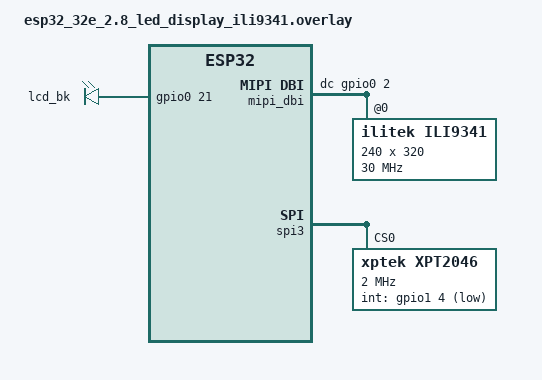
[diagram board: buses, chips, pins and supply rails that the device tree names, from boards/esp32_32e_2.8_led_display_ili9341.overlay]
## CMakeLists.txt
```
# SPDX-License-Identifier: MPL-2.0

cmake_minimum_required(VERSION 3.20.0)

# Project-local drivers ship their own devicetree bindings.
list(APPEND DTS_ROOT ${CMAKE_CURRENT_SOURCE_DIR}/drivers)

find_package(Zephyr REQUIRED HINTS $ENV{ZEPHYR_BASE})
project(oskey)

zephyr_include_directories(drivers/include)

add_subdirectory(drivers)

if(CONFIG_OSKEY_FIDO2 AND CONFIG_NATIVE_LIBC)
  zephyr_compile_definitions(_POSIX_C_SOURCE=200809L)
endif()

include(cmake/lvgl.cmake)
include(cmake/audio.cmake)

target_sources(app PRIVATE
  src/main.c
  src/bluetooth/bluetooth.c
  src/storage.c
  src/net/mqtt.c
  src/gpio.c
  src/usb/webusb.c
  src/app.c
  src/display/display.c
)

target_sources_ifdef(CONFIG_OSKEY_MESSAGE_BUS app PRIVATE
  src/bus.c
)

target_sources_ifdef(CONFIG_OSKEY_RUST app PRIVATE
  src/uart.c
)

target_sources_ifdef(CONFIG_OSKEY_MCUBOOT app PRIVATE
  src/boot.c
)

target_sources_ifdef(CONFIG_OSKEY_RUST app PRIVATE
  src/core.c
)

target_sources_ifdef(CONFIG_OSKEY_TEST_FIRMWARE app PRIVATE
  src/test.c
)

target_sources_ifdef(CONFIG_OSKEY_REMOVABLE_MEDIA app PRIVATE
  src/media.c
  src/display/ui_files.c
)

target_sources_ifdef(CONFIG_OSKEY_CAMERA app PRIVATE
  src/camera/camera.c
)

if(CONFIG_OSKEY_QR_CODE)
  add_library(quirc STATIC
    lib/quirc/lib/decode.c
    lib/quirc/lib/identify.c
    lib/quirc/lib/quirc.c
    lib/quirc/lib/version_db.c
  )
  target_include_directories(quirc PUBLIC lib/quirc/lib)
  target_compile_definitions(quirc PRIVATE QUIRC_FLOAT_TYPE=float QUIRC_USE_TGMATH=1)
  target_link_libraries(quirc PUBLIC zephyr_interface)

  target_sources(app PRIVATE src/camera/qr_decoder.c)
  target_link_libraries(app PRIVATE quirc)
endif()

target_sources_ifdef(CONFIG_OSKEY_QR_SCANNER app PRIVATE
  src/camera/qr_scanner.c
  src/display/ui_qr.c
)

if(CONFIG_OSKEY_AUDIO)
  target_sources(app PRIVATE
    src/audio/audio.c
  )
  add_dependencies(app audio-assets)
endif()

target_sources_ifdef(CONFIG_OSKEY_MICROPHONE app PRIVATE
  src/audio/microphone.c
)

if(CONFIG_OSKEY_IMU)
  add_library(fusion STATIC
    lib/Fusion/Fusion/FusionAhrs.c
    lib/Fusion/Fusion/FusionBias.c
  )
  target_include_directories(fusion PUBLIC lib/Fusion/Fusion)
  target_link_libraries(fusion PUBLIC zephyr_interface)

  target_sources(app PRIVATE src/imu/imu.c)
  target_link_libraries(app PRIVATE fusion)
endif()

target_sources_ifdef(CONFIG_OSKEY_DISPLAY app PRIVATE
  src/display/ui.c
  src/display/ui_keyboard.c
  src/display/ui_controller.c
  src/display/ui_status.c
  src/display/ui_dialog.c
  src/display/ui_pages.c
  src/display/ui_hw.c
  src/display/ui_entropy.c
  src/display/ui_confirmation.c
  src/display/assets/assets.c
)

if(CONFIG_OSKEY_DISPLAY AND CONFIG_OSKEY_RUST)
  target_sources(app PRIVATE
    src/entropy/entropy.c
  )
endif()

target_sources_ifdef(CONFIG_OSKEY_WIFI app PRIVATE
  src/net/wifi.c
  src/net/http.c
  src/net/wifi_portal.c
)

include(cmake/wifi.cmake)

target_sources_ifdef(CONFIG_OSKEY_USB app PRIVATE
  src/usb/bulk.c
  src/usb/init.c
)

target_sources_ifdef(CONFIG_OSKEY_FIDO2 app PRIVATE
  src/usb/fido2.c
)

target_include_directories(app PRIVATE ${CMAKE_CURRENT_SOURCE_DIR}/src)

include(cmake/rust.cmake)
include(cmake/nxp.cmake)
```

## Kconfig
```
# SPDX-License-Identifier: MPL-2.0

menu "OSKey core"

config OSKEY_NXP_SE
	bool "NXP A5000 seed storage"
	depends on OSKEY_RUST
	select I2C
	select PSA_WANT_KEY_TYPE_AES
	select PSA_WANT_ALG_CMAC
	select PSA_WANT_ALG_CBC_NO_PADDING
	help
	  Store the wallet seed in A5000 and enforce ten PIN attempts in the chip.
	  Disabled by default; the existing software wallet backend is then used.

config OSKEY_NXP_CREDENTIALS_HEADER
	string "Private A5000 credential header"
	depends on OSKEY_NXP_SE
	default ""
	help
	  Absolute path to a board provisioning header defining OSKEY_NXP_CREDENTIALS.
	  An empty path leaves the secure backend unconfigured and unable to store seed.

config MAIN_STACK_SIZE
	default 20480

config OSKEY_MESSAGE_BUS
	bool
	select ZBUS

config HEAP_MEM_POOL_ADD_SIZE_OSKEY
	int
	default 8192 if OSKEY_RUST
	default 0

config OSKEY_TEST_FIRMWARE
	bool "Test firmware"
	depends on OSKEY_RUST
	help
	  Build firmware that automatically approves confirmation requests.
	  This bypasses physical user presence and must never be enabled in
	  production firmware.

config OSKEY_BUS_PAYLOAD_COUNT
	int
	depends on OSKEY_RUST
	default 8
	range 1 64

config OSKEY_BUS_PAYLOAD_SIZE
	int
	depends on OSKEY_RUST
	default 512
	range 1 65535

config OSKEY_RUST
	bool "OSKey Rust application"
	default y
	depends on RUST_SUPPORTED
	select OSKEY_MESSAGE_BUS
	select NET_BUF
	select RUST
	select RUST_ALLOC
	select PSA_CRYPTO
	select CSPRNG_NEEDED
	select PSA_WANT_ALG_PBKDF2_HMAC
	select PSA_WANT_ALG_SHA_512
	select PSA_WANT_ALG_SHA_256
	select PSA_WANT_ALG_RIPEMD160
	select PSA_WANT_ALG_HMAC
	select PSA_WANT_KEY_TYPE_HMAC
	select PSA_WANT_ALG_DETERMINISTIC_ECDSA
	select PSA_WANT_ALG_ECDSA
	select PSA_WANT_ECC_SECP_K1_256
	select PSA_WANT_ECC_SECP_R1_256
	select PSA_WANT_KEY_TYPE_ECC_PUBLIC_KEY
	select PSA_WANT_KEY_TYPE_ECC_KEY_PAIR_DERIVE
	select PSA_WANT_KEY_TYPE_ECC_KEY_PAIR_IMPORT
	select PSA_WANT_KEY_TYPE_ECC_KEY_PAIR_EXPORT
	select PSA_WANT_KEY_TYPE_CHACHA20
	select PSA_WANT_ALG_CHACHA20_POLY1305
	help
	  Build the OSKey Rust application and its PSA wallet backend.
	  Disable this to build the C application without Rust wallet support.

config OSKEY_CORE_STACK_SIZE
	int "OSKey core stack size"
	depends on OSKEY_RUST
	default 20480
	help
	  Stack size for the thread that owns and executes the Rust core.

endmenu

menu "OSKey features"

config OSKEY_STORAGE
	bool "Storage"
	select OSKEY_MESSAGE_BUS
	select ZMS
	select ZMS_DATA_CRC
	select SETTINGS
	select FLASH
	select FLASH_MAP
	select FLASH_PAGE_LAYOUT
	help
	  Enable the shared CRC-protected ZMS storage and Zephyr settings
	  backend.

config OSKEY_REMOVABLE_MEDIA
	bool "Read-only removable media browser"
	depends on OSKEY_DISPLAY
	depends on DT_HAS_ZEPHYR_SDMMC_DISK_ENABLED
	select DISK_DRIVER_SDMMC
	select FAT_FILESYSTEM_ELM
	select FILE_SYSTEM
	select FS_FATFS_EXFAT
	select FS_FATFS_READ_ONLY
	help
	  Mount a FAT16, FAT32, or exFAT SD card read-only and expose its
	  files through the LVGL file browser. This storage is independent
	  of OSKey's internal ZMS settings storage.

config FS_FATFS_MOUNT_MKFS
	default n if OSKEY_REMOVABLE_MEDIA

config MPU_ALLOW_FLASH_WRITE
	default y if OSKEY_STORAGE || OSKEY_XIP

config OSKEY_CAMERA
	bool "Camera capture"
	select OSKEY_MESSAGE_BUS
	select VIDEO
	help
	  Enable the generic camera capture service. A board must provide a
	  zephyr,camera chosen video device.

config VIDEO_BUFFER_USE_SHARED_MULTI_HEAP
	default y if OSKEY_CAMERA

config VIDEO_BUFFER_SMH_ATTRIBUTE
	default 2 if OSKEY_CAMERA

config VIDEO_BUFFER_POOL_NUM_MAX
	default 4 if OSKEY_CAMERA

if SOC_SERIES_ESP32S3
config DMA_ESP32_MAX_DESCRIPTOR_NUM
	default 64 if OSKEY_CAMERA
endif

config OSKEY_AUDIO
	bool "Audio"
	depends on DT_HAS_ESPRESSIF_ESP32_I2S_ENABLED
	select OSKEY_MESSAGE_BUS
	select I2S
	select LV_USE_BAR if OSKEY_DISPLAY
	select LV_USE_SLIDER if OSKEY_DISPLAY
	help
	  Enable the board audio service and speaker output through I2S. A board
	  must provide a codec devicetree node and audio-codec / audio-i2s
	  aliases. USB microphone capture can be enabled separately.

config OSKEY_AUDIO_VOLUME
	int "Audio output volume (0-100)"
	depends on OSKEY_AUDIO
	default 60
	range 0 100
	help
	  Initial codec output volume in the 0-100 range; adjustable at runtime
	  from the Audio page.

rsource "src/audio/Kconfig"

config OSKEY_IMU
	bool "6-axis IMU (accelerometer and gyroscope)"
	depends on DT_HAS_OSKEY_QMI8658A_FIFO_ENABLED
	select OSKEY_MESSAGE_BUS
	select OSKEY_QMI8658A_FIFO
	help
	  Enable the portable IMU acquisition and Fusion pipeline. A dedicated
	  thread directly drains the devicetree-selected FIFO source; the wakeup
	  can come from a software timer or a future DRDY GPIO interrupt.

config OSKEY_IMU_RENDER_INTERVAL_MS
	int "IMU page render interval in milliseconds"
	depends on OSKEY_IMU
	default 100
	range 20 1000
	help
	  Period between LVGL updates. Sensor sampling and fusion run at the
	  output data rate configured in devicetree.

config OSKEY_IMU_THREAD_STACK_SIZE
	int "IMU thread stack size"
	depends on OSKEY_IMU
	default 4096
	help
	  Stack used by the direct FIFO acquisition and Fusion thread.

config OSKEY_IMU_THREAD_PRIORITY
	int "IMU thread priority"
	depends on OSKEY_IMU
	default 3
	help
	  Portable Zephyr preemptive priority for acquisition and Fusion.

source "$(APPLICATION_SOURCE_DIR)/drivers/Kconfig"

config OSKEY_QR_CODE
	bool "QR code decoder"
	depends on OSKEY_CAMERA
	help
	  Decode camera frames locally with quirc.

config OSKEY_QR_SCANNER
	bool "QR code scanner"
	depends on OSKEY_CAMERA && OSKEY_DISPLAY
	select OSKEY_QR_CODE
	help
	  Add QR decoding to the camera page.

config OSKEY_QR_DECODE_INTERVAL_MS
	int "QR code decode interval in milliseconds"
	depends on OSKEY_QR_CODE
	default 1000
	range 100 60000

config OSKEY_QR_MAX_PAYLOAD_SIZE
	int "Maximum accepted QR code payload size"
	depends on OSKEY_QR_CODE
	default 2048
	range 1 8896

config OSKEY_QR_THREAD_STACK_SIZE
	int "QR code decoder thread stack size"
	depends on OSKEY_QR_CODE
	default 65536

config OSKEY_QR_SCANNER_THREAD_STACK_SIZE
	int "QR scanner thread stack size"
	depends on OSKEY_QR_SCANNER
	default 4096

menuconfig OSKEY_DISPLAY
	bool "Display and input"
	select I2C
	select DISPLAY
	select INPUT
	select LVGL
	select LV_Z_AUTO_INIT
	select LV_Z_RUN_LVGL_ON_WORKQUEUE
	select LV_Z_LVGL_MUTEX
	select LV_Z_MEMORY_POOL_CUSTOM_SECTION if OSKEY_ESP_SPIRAM
	select LV_Z_VDB_CUSTOM_SECTION if OSKEY_ESP_SPIRAM
	select SMF if OSKEY_RUST
	select SMF_ANCESTOR_SUPPORT if OSKEY_RUST
	select LV_USE_FONT_COMPRESSED
	select LV_FONT_MONTSERRAT_20
	select LV_FONT_MONTSERRAT_18
	select LV_FONT_MONTSERRAT_16
	select LV_FONT_MONTSERRAT_14
	select LV_FONT_MONTSERRAT_12

if OSKEY_DISPLAY

config LV_Z_LVGL_WORKQUEUE_STACK_SIZE
	default 32768 if OSKEY_LVGL_BENCHMARK
	default 8192

config OSKEY_DISPLAY_EVENT_STACK_SIZE
	int "Display event thread stack size"
	depends on OSKEY_MESSAGE_BUS
	default 4096
	help
	  Stack used by the event-driven display state consumer.

config LV_Z_MEM_POOL_SIZE
	default 204800 if BOARD_NATIVE_SIM
	default 81920 if OSKEY_LVGL_BENCHMARK
	default 65536

config LV_Z_VDB_SIZE
	default 25 if OSKEY_ESP_SPIRAM

config LV_Z_DOUBLE_VDB
	default y if OSKEY_ESP_SPIRAM

config LV_Z_FLUSH_THREAD
	default y if OSKEY_ESP_SPIRAM

config LV_USE_ANIMIMG
	default n if !OSKEY_LVGL_BENCHMARK

config LV_USE_ARCLABEL
	default n if !OSKEY_LVGL_BENCHMARK

config LV_USE_BAR
	default n if !OSKEY_LVGL_BENCHMARK

config LV_USE_CALENDAR
	default n if !OSKEY_LVGL_BENCHMARK

config LV_USE_CANVAS
	default n if !OSKEY_LVGL_BENCHMARK

config LV_USE_CHART
	default n if !OSKEY_LVGL_BENCHMARK

config LV_USE_CHECKBOX
	default n if !OSKEY_LVGL_BENCHMARK

config LV_USE_DROPDOWN
	default n if !OSKEY_LVGL_BENCHMARK

config LV_USE_IMAGEBUTTON
	default n if !OSKEY_LVGL_BENCHMARK

config LV_USE_LED
	default n if !OSKEY_LVGL_BENCHMARK

config LV_USE_LINE
	default n if !OSKEY_LVGL_BENCHMARK

config LV_USE_LIST
	default n if !OSKEY_LVGL_BENCHMARK

config LV_USE_MENU
	default n if !OSKEY_LVGL_BENCHMARK

config LV_USE_ROLLER
	default n if !OSKEY_LVGL_BENCHMARK

config LV_USE_SCALE
	default n if !OSKEY_LVGL_BENCHMARK

config LV_USE_SLIDER
	default n if !OSKEY_LVGL_BENCHMARK

config LV_USE_SPAN
	default n if !OSKEY_LVGL_BENCHMARK

config LV_USE_SPINBOX
	default n if !OSKEY_LVGL_BENCHMARK

config LV_USE_SWITCH
	default n if !OSKEY_LVGL_BENCHMARK

config LV_USE_TABVIEW
	default n if !OSKEY_LVGL_BENCHMARK

config LV_USE_TILEVIEW
	default n if !OSKEY_LVGL_BENCHMARK

config LV_USE_WIN
	default n if !OSKEY_LVGL_BENCHMARK

choice LV_COLOR_DEPTH
	default LV_COLOR_DEPTH_16
endchoice

config OSKEY_LVGL_BENCHMARK
	bool "LVGL benchmark"
	select LV_USE_DEMO_BENCHMARK
	select LV_USE_SYSMON
	select LV_USE_PERF_MONITOR
	help
	  Run the LVGL benchmark instead of the OSKey interface.

endif

config OSKEY_BLUETOOTH
	bool "Bluetooth"
	select OSKEY_MESSAGE_BUS
	select OSKEY_STORAGE
	select BT
	select BT_PERIPHERAL
	select BT_SMP
	select BT_SMP_SC_ONLY
	select BT_APP_PASSKEY
	select BT_ZEPHYR_NUS
	select BT_KEYS_OVERWRITE_OLDEST
	select BT_PRIVACY
	select BT_SETTINGS

if OSKEY_BLUETOOTH

config BT_DEVICE_NAME
	default "OSKey"

config BT_L2CAP_TX_MTU
	default 512

config BT_BUF_ACL_TX_SIZE
	default 502

config BT_BUF_ACL_RX_SIZE
	default 502

config BT_BUF_ACL_TX_COUNT
	default 12

config BT_CTLR_DATA_LENGTH_MAX
	default 251

config BT_RX_STACK_SIZE
	default 2048

config BT_MAX_PAIRED
	default 3

config OSKEY_BT_PASSKEY
	int "Bluetooth pairing passkey"
	default 123456
	range 0 999999
	help
	  Six-digit passkey used for authenticated Bluetooth pairing. Override this
	  in product configuration instead of changing the Bluetooth module.

endif

menuconfig OSKEY_WIFI
	bool "Wi-Fi provisioning"
	select OSKEY_MESSAGE_BUS
	select OSKEY_STORAGE
	select WIFI
	select WIFI_NM
	select WIFI_CREDENTIALS
	select NETWORKING
	select POSIX_API
	select NET_CONNECTION_MANAGER
	select NET_IPV4
	select NET_L2_WIFI_MGMT
	select NET_SOCKETS
	select NET_TCP
	select NET_UDP
	select NET_HOSTNAME_ENABLE
	select NET_HOSTNAME_DYNAMIC
	select NET_HOSTNAME_UNIQUE
	select NET_DHCPV4
	select NET_DHCPV4_SERVER
	select NET_DHCPV4_SERVER_OPTION_CAPTIVE_PORTAL
	select DNS_RESOLVER
	select HTTP_SERVER
	select HTTP_SERVER_CAPTURE_HEADERS
	select HTTP_CLIENT

if OSKEY_WIFI

choice WIFI_USAGE_MODE
	default WIFI_USAGE_MODE_STA_AP
endchoice

choice WIFI_CREDENTIALS_BACKEND
	default WIFI_CREDENTIALS_BACKEND_SETTINGS
endchoice

choice ESP_WIFI_HEAP
	default ESP_WIFI_HEAP_SPIRAM if OSKEY_ESP_SPIRAM
endchoice

config WIFI_CREDENTIALS_MAX_ENTRIES
	default 1

config NET_IPV6
	default n

config NET_SOCKETS_SERVICE_STACK_SIZE
	default 4096

config NET_HOSTNAME
	default "OSKey-"

config NET_IF_MAX_IPV4_COUNT
	default 2

config NET_MAX_CONN
	default 8

config NET_BUF_RX_COUNT
	default 100

config NET_BUF_TX_COUNT
	default 100

config NET_MGMT_EVENT_QUEUE_SIZE
	default 10

config NET_MGMT_EVENT_STACK_SIZE
	default 4096

config HTTP_SERVER_VERSION_2
	default n

config HTTP_SERVER_MAX_CLIENTS
	default 1

config ZVFS_EVENTFD_MAX
	default 2

config ESP32_WIFI_NET_ALLOC_SPIRAM
	default y if OSKEY_ESP_SPIRAM

config OSKEY_WIFI_AP_SSID
	string "Wi-Fi provisioning AP SSID"
	default "OSKey-AP"

config OSKEY_WIFI_AP_PSK
	string "Wi-Fi provisioning AP password"
	default "12345678"
	help
	  Password for the temporary WPA2 provisioning access point. It must be
	  empty for an open AP or contain 8-63 bytes.

config OSKEY_WIFI_AP_IP_ADDRESS
	string "Wi-Fi provisioning AP IPv4 address"
	default "192.168.4.1"

config OSKEY_WIFI_AP_NETMASK
	string "Wi-Fi provisioning AP IPv4 netmask"
	default "255.255.255.0"

endif

config SYSTEM_WORKQUEUE_STACK_SIZE
	default 8192 if OSKEY_WIFI
	default 2048 if OSKEY_BLUETOOTH

menuconfig OSKEY_USB
	bool "USB"
	select OSKEY_MESSAGE_BUS
	select USB_DEVICE_STACK_NEXT

if OSKEY_USB

config USBD_THREAD_STACK_SIZE
	default 4096

config ESP_USB_SERIAL_JTAG_ENABLED
	default n

config CDC_ACM_SERIAL_INITIALIZE_AT_BOOT
	default n

choice USBD_LOG_LEVEL_CHOICE
	default USBD_LOG_LEVEL_WRN
endchoice

choice UDC_DRIVER_LOG_LEVEL_CHOICE
	default UDC_DRIVER_LOG_LEVEL_WRN
endchoice

config OSKEY_USBD_MANUFACTURER
	string "USB device manufacturer string"
	default "Butterfly"
	help
	  USB device manufacturer string.

config OSKEY_USBD_PRODUCT
	string "USB device product string"
	default "OSKey"
	help
	  USB device product string.

config OSKEY_USBD_PID
	hex "USB device Product ID"
	default 0x20BF
	help
	  USB device Product ID.

config OSKEY_USBD_SELF_POWERED
	bool "USB device Self-powered attribute"
	help
	  Set the Self-powered attribute in the USB configuration.

config OSKEY_USBD_REMOTE_WAKEUP
	bool "USB device Remote Wakeup attribute"
	help
	  Set the Remote Wakeup attribute in the USB configuration.

config OSKEY_USBD_MAX_POWER
	int "USB device bMaxPower value"
	default 250
	range 0 250
	help
	  bMaxPower value in the USB configuration in 2 mA units.

config OSKEY_USBD_20_EXTENSION_DESC
	bool "Use default USB 2.0 Extension Descriptor"
	depends on USBD_BOS_SUPPORT
	default y
	help
	  Set bcdUSB value to 0201 and use default USB 2.0 Extension Descriptor.

endif

config OSKEY_FIDO2
	bool "FIDO2 authenticator"
	depends on OSKEY_RUST
	select OSKEY_STORAGE
	select OSKEY_USB
	select FIDO2
	select FIDO2_EXT_CRED_PROTECT
	select FIDO2_TRANSPORT_USB_HID
	select PSA_WANT_KEY_TYPE_AES
	help
	  Enable the USB FIDO2 authenticator for OpenSSH and other FIDO2 clients.

if OSKEY_FIDO2

choice FIDO2_UP_BACKEND
	default FIDO2_UP_CUSTOM
endchoice

choice FIDO2_STORAGE_BACKEND
	default FIDO2_STORAGE_SETTINGS
endchoice

choice FIDO2_ATTESTATION_BACKEND
	default FIDO2_ATTESTATION_NONE
endchoice

config FIDO2_AAGUID
	default "8e0d2cfc850153abb0b523751d20e730"

endif

menuconfig OSKEY_MQTT
	bool "MQTT"
	depends on NETWORKING
	select POSIX_API
	select NET_CONNECTION_MANAGER
	select NET_IPV4
	select NET_SOCKETS
	select NET_TCP
	select DNS_RESOLVER
	select MQTT_LIB
	select MQTT_CLEAN_SESSION
	help
	  Product capability. Do not remove or disable it merely because current
	  application-level publish/subscribe consumers appear unused.

if OSKEY_MQTT

config OSKEY_MQTT_BROKER_HOSTNAME
	string "MQTT broker hostname"
	default "bemfa.com"

config OSKEY_MQTT_BROKER_PORT
	string "MQTT broker port"
	default "9501"

endif

choice OSKEY_MCUBOOT_BACKEND
	prompt "Signed firmware updates"
	optional

config OSKEY_MCUBOOT_ZEPHYR
	bool "Zephyr MCUboot port"
	select BOOTLOADER_MCUBOOT

config OSKEY_MCUBOOT_ESP
	bool "Espressif MCUboot port"
	depends on SOC_SERIES_ESP32S3
	select BOOTLOADER_MCUBOOT
	select ESP_FLASH_ENCRYPTION

endchoice

config OSKEY_MCUBOOT
	bool
	default y if OSKEY_MCUBOOT_ZEPHYR || OSKEY_MCUBOOT_ESP
	select OSKEY_STORAGE
	select MCUBOOT_BOOTLOADER_NO_DOWNGRADE
	select MCUMGR
	select MCUMGR_GRP_IMG
	select MCUMGR_GRP_OS
	select MCUMGR_GRP_OS_MCUMGR_PARAMS
	select MCUMGR_TRANSPORT_BT if OSKEY_BLUETOOTH
	select UART_MCUMGR
	select MCUMGR_TRANSPORT_UART
	select BASE64
	select ZCBOR
	select CRC
	select IMG_MANAGER
	select IMG_ERASE_PROGRESSIVELY
	select STREAM_FLASH
	help
	  Enable signed MCUboot updates over authenticated Bluetooth, or over UART
	  after the application explicitly reboots into firmware update mode.

config MCUBOOT_GENERATE_UNSIGNED_IMAGE
	default n if OSKEY_MCUBOOT_ESP

config MCUBOOT_SIGNATURE_KEY_FILE
	default "$(APP_DIR)/sign/root-ec-p256.pem" if OSKEY_MCUBOOT_ESP

config OSKEY_MCUBOOT_ESP_VIRTUAL_EFUSE
	bool "Use virtual eFuses"
	depends on OSKEY_MCUBOOT_ESP
	default y
	select ESP32_EFUSE_VIRTUAL
	select ESP32_EFUSE_VIRTUAL_KEEP_IN_FLASH
	help
	  Persist simulated eFuses in flash so Secure Boot and flash encryption
	  flows can be tested without changing the chip's real eFuses.

if OSKEY_MCUBOOT

config MCUMGR_TRANSPORT_BT_CONN_PARAM_CONTROL
	default y if OSKEY_BLUETOOTH

endif

config OSKEY_XIP
	bool "Execute in place"

if OSKEY_XIP

config XIP
	default y

endif

endmenu

menu "OSKey development options"

config OSKEY_LOG
	bool "Logging"
	select NET_LOG if NETWORKING

config LOG
	default y if OSKEY_LOG
	default n

config BOOT_BANNER
	default n if OSKEY_DEBUG
	default y if OSKEY_LOG
	default n

config OSKEY_DEBUG
	bool "Debugging"
	select DEBUG
	select STACK_USAGE
	select STATS

config OSKEY_TEST_RNG
	bool "Insecure test random generator"
	select TEST_RANDOM_GENERATOR

if OSKEY_TEST_RNG

config MBEDTLS_PSA_CRYPTO_EXTERNAL_RNG_ALLOW_NON_CSPRNG
	default y

choice RNG_GENERATOR_CHOICE
	default TIMER_RANDOM_GENERATOR
endchoice

endif

config OSKEY_ESP_SPIRAM
	bool "ESP32 external SPI RAM"
	depends on SOC_SERIES_ESP32 || SOC_SERIES_ESP32S3
	select ESP_SPIRAM
	select RUST_ALLOC_ESP_SPIRAM if OSKEY_RUST
	select SPIRAM_FETCH_INSTRUCTIONS if SOC_SERIES_ESP32S3
	select SPIRAM_RODATA if SOC_SERIES_ESP32S3

config ESP_SPIRAM_HEAP_SIZE
	default 4194304 if OSKEY_ESP_SPIRAM
endmenu

config HW_STACK_PROTECTION
	default y

config STACK_SENTINEL
	default y

source "Kconfig.zephyr"
```

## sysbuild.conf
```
# SPDX-License-Identifier: MPL-2.0

SB_CONFIG_BOOTLOADER_MCUBOOT=y
SB_CONFIG_MCUBOOT_MODE_SWAP_USING_MOVE=y
SB_CONFIG_BOOT_SIGNATURE_KEY_FILE="${APP_DIR}/sign/root-ec-p256.pem"
SB_CONFIG_BOOT_SIGNATURE_TYPE_ECDSA_P256=y
```

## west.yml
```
# SPDX-License-Identifier: MPL-2.0
# Validated main revisions. Keep Rust here so west update cannot downgrade it
# to the older version in Zephyr's optional manifest.
manifest:
  projects:
    - name: zephyr
      url: https://github.com/zephyrproject-rtos/zephyr
      revision: 0388ef0c424d70302c279d38f0aa1a69e92e157d
      import:
        name-blocklist: [zephyr-lang-rust]
    - name: zephyr-lang-rust
      url: https://github.com/zephyrproject-rtos/zephyr-lang-rust
      revision: 6889ba3bdc0d9debfbb5aea07c1a869935eea65b
      path: modules/lang/rust
  self:
    path: oskey
```

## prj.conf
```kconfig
# SPDX-License-Identifier: MPL-2.0

# Debug
CONFIG_DEBUG_COREDUMP=n

# CONFIG_ISR_STACK_SIZE=1024

# Stack
CONFIG_THREAD_STACK_INFO=y
CONFIG_INIT_STACKS=y

# UART
CONFIG_UART_INTERRUPT_DRIVEN=y

# Entropy
CONFIG_ENTROPY_GENERATOR=y

# Device
CONFIG_HWINFO=y
CONFIG_REBOOT=y
```

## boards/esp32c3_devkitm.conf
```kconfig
# BT
CONFIG_BT=y
CONFIG_BT_PERIPHERAL=y
CONFIG_BT_SMP=y
CONFIG_BT_SMP_SC_ONLY=y
CONFIG_BT_SMP_SC_PAIR_ONLY=y
CONFIG_BT_DEVICE_NAME="OHW"
CONFIG_BT_ZEPHYR_NUS=y
CONFIG_BT_DEVICE_NAME_DYNAMIC=y
CONFIG_BT_DEVICE_APPEARANCE=0
CONFIG_BT_L2CAP_TX_MTU=247
CONFIG_BT_BUF_ACL_TX_SIZE=251
CONFIG_BT_BUF_ACL_RX_SIZE=502
CONFIG_BT_CTLR_DATA_LENGTH_MAX=251
CONFIG_BT_RX_STACK_SIZE=2400
CONFIG_BT_KEYS_OVERWRITE_OLDEST=y
CONFIG_BT_MAX_PAIRED=3
CONFIG_BT_PRIVACY=y

# Settings
CONFIG_BT_SETTINGS=y
CONFIG_SETTINGS=y

# MCUBOOT
CONFIG_BOOTLOADER_MCUBOOT=y
CONFIG_MCUBOOT_GENERATE_UNSIGNED_IMAGE=n
CONFIG_MCUBOOT_SIGNATURE_KEY_FILE="bootloader/mcuboot/root-ec-p256.pem"
CONFIG_MCUBOOT_IMGTOOL_SIGN_VERSION="0.0.2"
CONFIG_MCUBOOT_BOOTLOADER_MODE_DIRECT_XIP_WITH_REVERT=y
CONFIG_MCUBOOT_BOOTLOADER_NO_DOWNGRADE=y
CONFIG_MCUMGR=y
CONFIG_MCUMGR_GRP_IMG=y
CONFIG_MCUMGR_GRP_OS=y
CONFIG_MCUMGR_GRP_STAT=y
CONFIG_MCUMGR_TRANSPORT_BT=y

# Other
CONFIG_ZCBOR=y
CONFIG_STATS=y

# Display
CONFIG_DISPLAY=y
CONFIG_INPUT=n
CONFIG_LVGL=y
CONFIG_LV_Z_MEM_POOL_SIZE=20480
CONFIG_LV_Z_SHELL=y
# CONFIG_LV_USE_SYSMON=y
CONFIG_LV_USE_MONKEY=y
CONFIG_LV_USE_FONT_COMPRESSED=y
CONFIG_LV_USE_PERF_MONITOR=y
CONFIG_LV_COLOR_DEPTH_24=y
CONFIG_LV_FONT_MONTSERRAT_24=y
CONFIG_ST7789V_RGB888=y
# CONFIG_SPI_ESP32_INTERRUPT=y
```

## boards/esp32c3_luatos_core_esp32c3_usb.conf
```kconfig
CONFIG_NVS=y
CONFIG_FLASH=y
CONFIG_FLASH_MAP=y
CONFIG_NVS_LOG_LEVEL_OFF=y
```

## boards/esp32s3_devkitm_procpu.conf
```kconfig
# SPIRAM
CONFIG_ESP_SPIRAM=y
CONFIG_SPIRAM_MODE_OCT=y
CONFIG_SPIRAM_FETCH_INSTRUCTIONS=y
CONFIG_SPIRAM_RODATA=y

# CONFIG_SPI_ESP32_INTERRUPT=y
```

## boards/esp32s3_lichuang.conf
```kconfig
# SPDX-License-Identifier: MPL-2.0

# ESP32-S3-WROOM-1-N16R8 uses octal PSRAM at 80 MHz.
CONFIG_SPI_INIT_PRIORITY=80
CONFIG_SPIRAM_MODE_OCT=y
CONFIG_SPIRAM_SPEED_80M=y
```

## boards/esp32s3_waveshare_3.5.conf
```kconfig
CONFIG_LV_COLOR_16_SWAP=y
```

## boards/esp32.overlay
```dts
/ {
	aliases {
		app-uart = &usb_serial;
	};
	chosen {
		zephyr,console = &uart0;
		zephyr,shell-uart = &uart0;
	};
};
```

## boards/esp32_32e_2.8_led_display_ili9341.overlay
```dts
/* SPDX-License-Identifier: MPL-2.0 */

#include <zephyr/dt-bindings/mipi_dbi/mipi_dbi.h>
#include <zephyr/dt-bindings/gpio/gpio.h>
#include <zephyr/dt-bindings/display/panel.h>

/ {
  chosen {
    zephyr,display = &ili9341;
    zephyr,touch = &xpt2046;
  };

  aliases {
    backlight = &lcd_bk;
    app-uart = &uart0;
  };

  mipi_dbi {
    compatible = "zephyr,mipi-dbi-spi";
    dc-gpios = <&gpio0 2 GPIO_ACTIVE_HIGH>;
    spi-dev = <&spi2>;
    write-only;
    #address-cells = <1>;
    #size-cells = <0>;

    ili9341: ili9341@0 {
      compatible = "ilitek,ili9341";
      mipi-max-frequency = <DT_FREQ_M(30)>;
      reg = <0>;
      pixel-format = <PANEL_PIXEL_FORMAT_RGB_565X>;
      width = <240>;
      height = <320>;
      rotation = <90>;
    };
  };

  leds {
    compatible = "gpio-leds";
    status = "okay";
    lcd_bk: led_0 {
      gpios = <&gpio0 21 GPIO_ACTIVE_HIGH>;
    };
  };
};

&spim3_default {
  group1 {
    pinmux = <SPIM3_MISO_GPIO39>,
             <SPIM3_SCLK_GPIO25>,
             <SPIM3_CSEL_GPIO33>;
  };
  group2 {
    pinmux = <SPIM3_MOSI_GPIO32>;
    output-low;
  };
};

&spi3 {
  xpt2046: xpt2046@0 {
    compatible = "xptek,xpt2046";
    spi-max-frequency = <DT_FREQ_M(2)>;
    reg = <0x0>;
    int-gpios = <&gpio1 4 GPIO_ACTIVE_LOW>;
    touchscreen-size-x = <240>;
    touchscreen-size-y = <320>;
    min-x = <500>;
    max-x = <3800>;
    min-y = <300>;
    max-y = <3600>;
    screen-width = <240>;
    inverted-x;
  };
};
```

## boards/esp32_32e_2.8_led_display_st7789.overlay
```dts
/* SPDX-License-Identifier: MPL-2.0 */

#include <zephyr/dt-bindings/mipi_dbi/mipi_dbi.h>
#include <zephyr/dt-bindings/gpio/gpio.h>
#include <zephyr/dt-bindings/display/panel.h>

/ {
  chosen {
    zephyr,display = &st7789v;
    zephyr,touch = &xpt2046;
  };

  aliases {
    backlight = &lcd_bk;
    app-uart = &uart0;
  };

  mipi_dbi {
    compatible = "zephyr,mipi-dbi-spi";
    dc-gpios = <&gpio0 2 GPIO_ACTIVE_HIGH>;
    spi-dev = <&spi2>;
    write-only;
    #address-cells = <1>;
    #size-cells = <0>;

    st7789v: st7789v@0 {
      compatible = "sitronix,st7789v";
      mipi-max-frequency = <DT_FREQ_M(30)>;
      reg = <0>;
      width = <320>;
      height = <240>;
      x-offset = <0>;    // 0x2a
      y-offset = <0>;    // 0x2b
      vcom = <0x1d>;     // 0xbb
      gctrl = <0x55>;    // 0xb7
      vrhs = <0x0f>;     // 0xc3
      vdvs = <0x20>;     // 0xc4
      mdac = <0x60>;     // 0x36 horizontal 0x00 0xc0 0x70 0xa0 0x60
      gamma = <0x01>;    // no gamma
      pixel-format = <PANEL_PIXEL_FORMAT_RGB_565X>;
      lcm = <0x2c>;
      porch-param = [ 0c 0c 00 33 33  ];   // 0xb2
      cmd2en-param = [ 5a 69 02 01  ];     // 0xdf
      pwctrl1-param = [ a4 a1  ];          // 0xd0
      pvgam-param = [ f0 06 12 15 15 1e 3e 44 4e 09 11 10 1a 1d  ]; // 0xe0
      nvgam-param = [ f0 04 0e 0d 0e 27 3f 54 4e 3f 1d 1d 22 27  ]; // 0xe1
      ram-param = [ 00 F0  ];
      rgb-param = [ CD 08 14  ];
      mipi-mode = "MIPI_DBI_MODE_SPI_4WIRE";
      inversion-off;
    };
  };

  leds {
    compatible = "gpio-leds";
    status = "okay";
    lcd_bk: led_0 {
      gpios = <&gpio0 21 GPIO_ACTIVE_HIGH>;
    };
  };
};

&spim3_default {
  group1 {
    pinmux = <SPIM3_MISO_GPIO39>,
             <SPIM3_SCLK_GPIO25>,
             <SPIM3_CSEL_GPIO33>;
  };
  group2 {
    pinmux = <SPIM3_MOSI_GPIO32>;
    output-low;
  };
};

&spi3 {
  xpt2046: xpt2046@0 {
    compatible = "xptek,xpt2046";
    spi-max-frequency = <DT_FREQ_M(2)>;
    reg = <0x0>;
    int-gpios = <&gpio1 4 GPIO_ACTIVE_LOW>;
    touchscreen-size-x = <240>;
    touchscreen-size-y = <320>;
    min-x = <400>;
    max-x = <3800>;
    min-y = <300>;
    max-y = <3600>;
    swapped-x-y;
  };
};
```

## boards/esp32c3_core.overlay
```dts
&uart0 {
	status = "okay";
};

/ {
	aliases {
		app-uart = &usb_serial;
	};
	chosen {
		zephyr,console = &uart0;
		zephyr,shell-uart = &uart0;
		zephyr,code-partition = &slot0_partition;
	};

	wifi_ap: wifi_ap {
		compatible = "espressif,esp32-wifi";
		status = "okay";
	};
};
```

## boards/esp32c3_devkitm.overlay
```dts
/ {
	aliases {
		app-uart = &uart0;
	};
	chosen {
		zephyr,console = &usb_serial;
		zephyr,shell-uart = &usb_serial;
	};

	wifi_ap: wifi_ap {
		compatible = "espressif,esp32-wifi";
		status = "okay";
	};
};

&dma {
	status = "okay";
};
```

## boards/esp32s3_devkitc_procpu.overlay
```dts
&psram0 {
	size = <DT_SIZE_M(8)>;
};
```

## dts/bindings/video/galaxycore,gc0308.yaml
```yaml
# Copyright (c) 2026 OSKey contributors
# SPDX-License-Identifier: Apache-2.0

description: GalaxyCore GC0308 CMOS video sensor

compatible: "galaxycore,gc0308"

include: i2c-device.yaml

properties:
  pwdn-gpios:
    type: phandle-array
    required: true
    description: Active-high sensor power-down signal

child-binding:
  child-binding:
    include: video-interfaces.yaml
```

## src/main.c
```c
/* SPDX-License-Identifier: MPL-2.0 */

#include <zephyr/kernel.h>
#include <zephyr/logging/log.h>
#if defined(CONFIG_OSKEY_RUST)
#include "uart.h"
#endif
#include "bluetooth/bluetooth.h"
#include "storage.h"
#include "boot.h"
#include "app.h"
#include "net/wifi.h"
#include "net/mqtt.h"
#include "display/display.h"
#if defined(CONFIG_OSKEY_CAMERA)
#include "camera/camera.h"
#endif
#if defined(CONFIG_OSKEY_AUDIO)
#include "audio/audio.h"
#endif
#if defined(CONFIG_OSKEY_IMU)
#include "imu/imu.h"
#endif
#include "core.h"
#include "gpio.h"
#include "usb/webusb.h"
LOG_MODULE_REGISTER(main);

int main(void)
{
	bool healthy = true;
	int ret;

	if (IS_ENABLED(CONFIG_OSKEY_TEST_FIRMWARE)) {
		LOG_WRN("Test firmware enabled; confirmations are automatic");
	}

#if defined(CONFIG_OSKEY_AUDIO)
	ret = app_audio_init();
	if (ret < 0) {
		LOG_ERR("Audio init failed: %d", ret);
	}
#endif

#if defined(CONFIG_OSKEY_IMU)
	ret = app_imu_init();
	if (ret < 0) {
		LOG_ERR("IMU init failed: %d", ret);
	}
#endif

	ret = storage_init();
	if (ret < 0) {
		LOG_ERR("Storage startup failed: %d", ret);
		healthy = false;
	}
#ifdef CONFIG_OSKEY_MCUBOOT
	if (app_update_mode_take()) {
		return 0;
	}
#endif

	ret = user_button_init();
	if (ret < 0 && ret != -ENOTSUP) {
		LOG_ERR("User button startup failed: %d", ret);
		healthy = false;
	}

	int bluetooth_status = oskey_bt_init();
	if (bluetooth_status < 0) {
		healthy = false;
	}

	if (IS_ENABLED(CONFIG_OSKEY_STORAGE) && app_check_storage()) {
		ret = storage_settings_load();
		if (ret < 0) {
			LOG_ERR("Settings load failed: %d", ret);
			healthy = false;
		}
	}

	int core_status = app_core_init();
	if (core_status < 0) {
		LOG_ERR("Core startup failed: %d", core_status);
		healthy = false;
	}

#if defined(CONFIG_OSKEY_CAMERA)
	ret = app_camera_init();
	if (ret < 0) {
		LOG_ERR("Camera startup failed: %d", ret);
	}
#endif

	ret = app_init_display();
	if (ret < 0) {
		LOG_ERR("Display startup failed: %d", ret);
		healthy = false;
	}

	ret = init_usb_stack();
	if (ret < 0) {
		LOG_ERR("USB startup failed: %d", ret);
		healthy = false;
	}

#if defined(CONFIG_OSKEY_RUST)
	if (core_status == 0) {
		ret = app_uart_irq_register();
		if (ret < 0) {
			LOG_ERR("UART startup failed: %d", ret);
			healthy = false;
		}
	}
#endif

	if (bluetooth_status == 0) {
		ret = oskey_bt_start();
		if (ret < 0) {
			LOG_ERR("Bluetooth startup failed: %d", ret);
			healthy = false;
		}
	}

	ret = wifi_start();

	if (ret < 0) {
		LOG_ERR("Wi-Fi startup failed: %d", ret);
		healthy = false;
	}

	if (IS_ENABLED(CONFIG_OSKEY_MQTT)) {
		ret = mqtt_start();
		if (ret < 0) {
			LOG_ERR("MQTT startup failed: %d", ret);
			healthy = false;
		}
	}

#ifdef CONFIG_OSKEY_MCUBOOT
	if (healthy) {
		ret = confirm_mcuboot_img();
		if (ret < 0) {
			LOG_ERR("Image confirmation failed: %d", ret);
		}
	}
#endif

	return 0;
}

void rust_panic_wrap(void)
{
	k_panic();
}
```

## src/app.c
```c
/* SPDX-License-Identifier: MPL-2.0 */

#include <errno.h>
#include <stdio.h>
#include <string.h>
#include <zephyr/random/random.h>
#include <zephyr/app_version.h>
#include <zephyr/drivers/hwinfo.h>
#include <zephyr/sys/reboot.h>
#include <zephyr/sys/util.h>
#include "gpio.h"
#include "app.h"
#include "display/display.h"
#include "storage.h"
#include "security/nxp/nxp.h"

#if defined(CONFIG_OSKEY_FIDO2)
#include <zephyr/authentication/fido2/fido2_storage.h>
#endif

bool app_csrand_get(void *dst, size_t len)
{
	return sys_csrand_get(dst, len) == 0;
}

bool app_hardware_rng_available(void)
{
	return IS_ENABLED(CONFIG_CSPRNG_ENABLED) && !IS_ENABLED(CONFIG_TEST_RANDOM_GENERATOR) &&
	       !IS_ENABLED(CONFIG_FAKE_ENTROPY_NATIVE_SIM);
}

void app_version_get(void *ver, size_t len)
{
	snprintf(ver, len, "%s", APP_VERSION_STRING);
}

#ifndef CONFIG_OSKEY_MCUBOOT
bool app_update_request(void)
{
	return false;
}
#endif

bool app_check_feature(uint8_t *buffer, size_t len)
{
	if (buffer == NULL || len < APP_FEATURE_COUNT) {
		return false;
	}
	memset(buffer, 0, len);

#if defined(CONFIG_SECURE_BOOT)
	buffer[APP_FEATURE_SECURE_BOOT] = true;
#endif

#if defined(CONFIG_ESP_FLASH_ENCRYPTION)
	buffer[APP_FEATURE_FLASH_ENCRYPTION] = true;
#endif

#if defined(CONFIG_OSKEY_MCUBOOT)
	buffer[APP_FEATURE_BOOTLOADER] = true;
#endif

#if defined(CONFIG_OSKEY_STORAGE)
	buffer[APP_FEATURE_STORAGE] = true;
#endif

	buffer[APP_FEATURE_HARDWARE_RNG] = app_hardware_rng_available();

	buffer[APP_FEATURE_DISPLAY_INPUT] = app_display_ready();

#if defined(CONFIG_GPIO)
	if (user_button_exists()) {
		buffer[APP_FEATURE_USER_BUTTON] = true;
	}
#endif

	return true;
}

void app_get_chip_model(char *buffer, size_t len)
{
	snprintf(buffer, len, "%s", CONFIG_SOC);
}

int app_get_eui64(uint8_t *buffer, size_t len)
{
	if (buffer == NULL || len < sizeof(uint64_t)) {
		return -EINVAL;
	}

	return hwinfo_get_device_eui64(buffer);
}

int app_get_device_id(uint8_t *buffer, size_t len)
{
	return hwinfo_get_device_id(buffer, len);
}

bool app_check_storage(void)
{
	return storage_ready();
}

bool app_storage_reset(void)
{
	if (app_nxp_enabled() && app_nxp_erase() != NXP_OK) {
		return false;
	}
	if (storage_erase_flash() < 0) {
		return false;
	}
	sys_reboot(SYS_REBOOT_COLD);
	return true;
}

int app_fido_pin_retries(void)
{
#if defined(CONFIG_OSKEY_FIDO2)
	uint8_t pin_hash[FIDO2_PIN_HASH_SIZE];
	uint8_t retries;
	int ret;

	ret = fido2_storage_pin_get(pin_hash);
	memset(pin_hash, 0, sizeof(pin_hash));
	if (ret < 0) {
		return ret;
	}

	ret = fido2_storage_pin_retries_get(&retries);
	return ret < 0 ? ret : retries;
#else
	return -ENOTSUP;
#endif
}

void app_fido_pin_recover(void)
{
#if defined(CONFIG_OSKEY_FIDO2)
	if (app_fido_pin_retries() == 0) {
		(void)fido2_storage_pin_retries_reset();
	}
#endif
}

void app_restart(void)
{
	sys_reboot(SYS_REBOOT_COLD);
}
```

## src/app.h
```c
/* SPDX-License-Identifier: MPL-2.0 */

#ifndef APP_H
#define APP_H

#include <stdbool.h>
#include <stddef.h>
#include <stdint.h>

enum app_feature {
	APP_FEATURE_SECURE_BOOT,
	APP_FEATURE_FLASH_ENCRYPTION,
	APP_FEATURE_BOOTLOADER,
	APP_FEATURE_STORAGE,
	APP_FEATURE_HARDWARE_RNG,
	APP_FEATURE_DISPLAY_INPUT,
	APP_FEATURE_USER_BUTTON,
	APP_FEATURE_COUNT,
};

bool app_csrand_get(void *dst, size_t len);
bool app_hardware_rng_available(void);
void app_version_get(void *ver, size_t len);
bool app_check_feature(uint8_t *buffer, size_t len);
bool app_check_storage(void);
void app_get_chip_model(char *buffer, size_t len);
int app_get_eui64(uint8_t *buffer, size_t len);
int app_get_device_id(uint8_t *buffer, size_t len);
bool app_storage_reset(void);
int app_fido_pin_retries(void);
void app_fido_pin_recover(void);
void app_restart(void);
bool app_update_request(void);

#endif
```

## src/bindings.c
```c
#include "bindings.h"

void app_message_handle_rs(AppMessageSource source, AppMessageAction action, uint32_t value,
			   const uint8_t *data, uintptr_t len, const uint8_t *auxiliary,
			   uintptr_t auxiliary_len)
{
	(void)source;
	(void)action;
	(void)value;
	(void)data;
	(void)len;
	(void)auxiliary;
	(void)auxiliary_len;
}
```

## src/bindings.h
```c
/* SPDX-License-Identifier: MPL-2.0 */

#ifndef OSKEY_BINDINGS_H
#define OSKEY_BINDINGS_H

#include <stdarg.h>
#include <stdbool.h>
#include <stdint.h>
#include <stdlib.h>

typedef enum WalletState {
  WalletState_Disabled,
  WalletState_Setup,
  WalletState_Locked,
  WalletState_Ready,
  WalletState_Busy,
} WalletState;

typedef enum AppCoreCommandKind {
  AppCoreCommandKind_Protocol,
  AppCoreCommandKind_Local,
  AppCoreCommandKind_Fido,
  AppCoreCommandKind_Confirm,
} AppCoreCommandKind;

typedef enum Transport {
  Transport_Uart,
  Transport_Bluetooth,
} Transport;

typedef enum LocalRequestKind {
  LocalRequestKind_Unlock,
  LocalRequestKind_InitCustom,
  LocalRequestKind_GenerateMnemonic,
  LocalRequestKind_GenerateMnemonicMixed,
  LocalRequestKind_Restart,
  LocalRequestKind_ResetStorage,
  LocalRequestKind_Lock,
  LocalRequestKind_RefreshSecureStorage,
} LocalRequestKind;

typedef enum FidoRequestKind {
  FidoRequestKind_Register,
  FidoRequestKind_Validate,
  FidoRequestKind_Sign,
  FidoRequestKind_Confirm,
  FidoRequestKind_CancelConfirmation,
} FidoRequestKind;

typedef enum ConfirmationChoice {
  ConfirmationChoice_Approve,
  ConfirmationChoice_Reject,
} ConfirmationChoice;

typedef enum AppCoreEffectKind {
  AppCoreEffectKind_Transport,
  AppCoreEffectKind_Local,
  AppCoreEffectKind_Fido,
  AppCoreEffectKind_ConfirmationRequired,
  AppCoreEffectKind_ConfirmationCompleted,
  AppCoreEffectKind_WalletState,
} AppCoreEffectKind;

typedef enum LocalAction {
  LocalAction_Ready,
  LocalAction_Mnemonic,
  LocalAction_Error,
  LocalAction_Updated,
} LocalAction;

enum AppError
#if __STDC_VERSION__ >= 202311L
  : int32_t
#endif // __STDC_VERSION__ >= 202311L
 {
  AppError_Unspecified = 0,
  AppError_Failed = 1,
  AppError_Busy = 2,
  AppError_Rejected = 3,
  AppError_Locked = 4,
  AppError_NoPendingAction = 5,
  AppError_DisplayRequired = 6,
  AppError_ExternalRequestRequired = 7,
  AppError_TrustedActionRequired = 8,
  AppError_InvalidAction = 9,
  AppError_UnlockFailed = 10,
};
#if __STDC_VERSION__ >= 202311L
typedef enum AppError AppError;
#else
typedef int32_t AppError;
#endif // __STDC_VERSION__ >= 202311L

typedef enum ConfirmationOutcome {
  ConfirmationOutcome_Approved,
  ConfirmationOutcome_Rejected,
  ConfirmationOutcome_Cancelled,
} ConfirmationOutcome;

typedef enum FidoStatus {
  FidoStatus_Success,
  FidoStatus_Failed,
  FidoStatus_Cancelled,
} FidoStatus;

typedef enum AppConfirmationKind {
  AppConfirmationKind_EthMessage = 1,
  AppConfirmationKind_EthTransaction = 2,
  AppConfirmationKind_Fido = 3,
} AppConfirmationKind;

typedef enum FidoOperation {
  FidoOperation_Register = 1,
  FidoOperation_Authenticate = 2,
  FidoOperation_Select = 3,
  FidoOperation_Authorize = 4,
} FidoOperation;

typedef struct AppCore AppCore;

typedef struct TransportRoute {
  enum Transport transport;
  uint32_t session_id;
} TransportRoute;

typedef struct AppSlice {
  const uint8_t *data;
  uintptr_t len;
} AppSlice;

typedef struct AppCoreCommandView {
  enum AppCoreCommandKind kind;
  struct TransportRoute route;
  enum LocalRequestKind local_kind;
  enum FidoRequestKind fido_kind;
  enum ConfirmationChoice choice;
  uint32_t request_id;
  uint32_t value;
  uintptr_t first_len;
  const struct AppSlice *fragments;
  uintptr_t fragment_count;
} AppCoreCommandView;

typedef struct AppCoreEffectView {
  enum AppCoreEffectKind kind;
  struct TransportRoute route;
  enum LocalAction local_action;
  AppError error;
  enum ConfirmationOutcome outcome;
  enum WalletState wallet_state;
  uint32_t id;
  uint32_t request_id;
  uint32_t value;
  enum FidoStatus fido_status;
  struct AppSlice data;
  struct AppSlice auxiliary;
} AppCoreEffectView;

typedef struct AppConfirmation {
  uint32_t id;
  enum AppConfirmationKind kind;
  enum FidoOperation operation;
  bool truncated;
  bool contract_creation;
  bool account_is_text;
  bool prepared;
  uint64_t chain_id;
  uint64_t nonce;
  uint64_t gas_limit;
  uint64_t message_length;
  uint64_t input_length;
  uintptr_t from_len;
  uintptr_t preview_len;
  uintptr_t gas_price_len;
  uintptr_t to_len;
  uintptr_t value_len;
  uintptr_t selector_len;
  uintptr_t input_hash_len;
  uintptr_t signing_hash_len;
  uintptr_t rp_id_len;
  uintptr_t account_len;
  uintptr_t path_len;
  uintptr_t public_key_len;
  uintptr_t signature_len;
  uintptr_t credential_id_len;
  uint8_t from[20];
  uint8_t preview[256];
  uint8_t gas_price[80];
  uint8_t to[20];
  uint8_t value[80];
  uint8_t selector[4];
  uint8_t input_hash[32];
  uint8_t signing_hash[32];
  uint8_t rp_id[128];
  uint8_t account[64];
  uint8_t path[128];
  uint8_t public_key[65];
  uint8_t signature[72];
  uint8_t credential_id[64];
} AppConfirmation;

struct AppCore *app_core_create_rs(void);

enum WalletState app_core_state_rs(const struct AppCore *core);

bool app_core_execute_rs(struct AppCore *core, const struct AppCoreCommandView *command);

bool app_core_effect_next_rs(struct AppCore *core, struct AppCoreEffectView *view);

bool app_core_confirmation_get_rs(const struct AppCore *core,
                                  uint32_t id,
                                  struct AppConfirmation *result);

#endif  /* OSKEY_BINDINGS_H */
```

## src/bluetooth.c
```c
#include "bluetooth.h"
#include "uart.h"

#ifdef CONFIG_BT

#include <errno.h>
#include <zephyr/kernel.h>
#include <zephyr/bluetooth/bluetooth.h>
#include <zephyr/bluetooth/conn.h>
#include <zephyr/bluetooth/gatt.h>
#include <zephyr/bluetooth/hci.h>
#include <zephyr/bluetooth/services/nus.h>

#define STR_LEN(str) (sizeof(str) - 1)

LOG_MODULE_REGISTER(bluetooth);

K_MUTEX_DEFINE(active_conn_lock);
static struct bt_conn *active_conn;

static const struct bt_data ad[] = {
	BT_DATA_BYTES(BT_DATA_FLAGS, (BT_LE_AD_GENERAL | BT_LE_AD_NO_BREDR)),
};

static const struct bt_data sd[] = {
	BT_DATA(BT_DATA_NAME_COMPLETE, CONFIG_BT_DEVICE_NAME, STR_LEN(CONFIG_BT_DEVICE_NAME)),
	BT_DATA_BYTES(BT_DATA_UUID128_ALL, BT_UUID_NUS_SRV_VAL),
};

static void set_active_conn(struct bt_conn *conn)
{
	struct bt_conn *old_conn;

	k_mutex_lock(&active_conn_lock, K_FOREVER);
	old_conn = active_conn;
	active_conn = conn == NULL ? NULL : bt_conn_ref(conn);
	k_mutex_unlock(&active_conn_lock);

	if (old_conn != NULL) {
		bt_conn_unref(old_conn);
	}
}

static struct bt_conn *get_active_conn(void)
{
	struct bt_conn *conn;

	k_mutex_lock(&active_conn_lock, K_FOREVER);
	conn = active_conn == NULL ? NULL : bt_conn_ref(active_conn);
	k_mutex_unlock(&active_conn_lock);

	return conn;
}

static void connected(struct bt_conn *conn, uint8_t err)
{
	char addr[BT_ADDR_LE_STR_LEN];

	bt_addr_le_to_str(bt_conn_get_dst(conn), addr, sizeof(addr));

	if (err) {
		LOG_ERR("Failed to connect to %s %u %s", addr, err, bt_hci_err_to_str(err));
		return;
	}

	LOG_INF("Connected %s", addr);

	set_active_conn(conn);

	err = bt_conn_set_security(conn, BT_SECURITY_L4);
	if (err) {
		LOG_ERR("Failed to set security (%d)", err);
		(void)bt_conn_disconnect(conn, BT_HCI_ERR_AUTH_FAIL);
	}
}

static void disconnected(struct bt_conn *conn, uint8_t reason)
{
	char addr[BT_ADDR_LE_STR_LEN];

	bt_addr_le_to_str(bt_conn_get_dst(conn), addr, sizeof(addr));

	LOG_INF("Disconnected from %s, reason 0x%02x %s", addr, reason, bt_hci_err_to_str(reason));

	set_active_conn(NULL);
}

static void start_adv(void)
{
	int err = bt_le_adv_start(BT_LE_ADV_CONN_FAST_1, ad, ARRAY_SIZE(ad), sd, ARRAY_SIZE(sd));

	if (err) {
		LOG_ERR("Advertising failed to start (err %d)", err);
	} else {
		LOG_INF("Advertising successfully started");
	}
}

static void identity_resolved(struct bt_conn *conn, const bt_addr_le_t *rpa,
			      const bt_addr_le_t *identity)
{
	char addr_identity[BT_ADDR_LE_STR_LEN];
	char addr_rpa[BT_ADDR_LE_STR_LEN];

	bt_addr_le_to_str(identity, addr_identity, sizeof(addr_identity));
	bt_addr_le_to_str(rpa, addr_rpa, sizeof(addr_rpa));

	LOG_INF("Identity resolved %s -> %s", addr_rpa, addr_identity);
}

static void security_changed(struct bt_conn *conn, bt_security_t level, enum bt_security_err err)
{
	char addr[BT_ADDR_LE_STR_LEN];

	bt_addr_le_to_str(bt_conn_get_dst(conn), addr, sizeof(addr));

	if (!err) {
		LOG_INF("Security changed: %s level %u", addr, level);
	} else {
		LOG_ERR("Security failed: %s level %u err %s(%d)", addr, level,
			bt_security_err_to_str(err), err);
		(void)bt_conn_disconnect(conn, BT_HCI_ERR_AUTH_FAIL);
	}
}

BT_CONN_CB_DEFINE(conn_callbacks) = {
	.connected = connected,
	.disconnected = disconnected,
	.recycled = start_adv,
	.identity_resolved = identity_resolved,
	.security_changed = security_changed,
};

static void auth_passkey_display(struct bt_conn *conn, unsigned int passkey)
{
	char addr[BT_ADDR_LE_STR_LEN];

	bt_addr_le_to_str(bt_conn_get_dst(conn), addr, sizeof(addr));

	LOG_INF("Passkey for %s: %06u", addr, passkey);
}

static void auth_cancel(struct bt_conn *conn)
{
	char addr[BT_ADDR_LE_STR_LEN];

	bt_addr_le_to_str(bt_conn_get_dst(conn), addr, sizeof(addr));

	LOG_INF("Pairing cancelled: %s", addr);
}

static struct bt_conn_auth_cb auth_cb_display = {
	.passkey_display = auth_passkey_display,
	.passkey_entry = NULL,
	.cancel = auth_cancel,
};

static void pairing_complete(struct bt_conn *conn, bool bonded)
{
	LOG_INF("Pairing complete%s", bonded ? " and bonded" : "");
}

static void pairing_failed(struct bt_conn *conn, enum bt_security_err reason)
{
	LOG_ERR("Pairing Failed (%d). Disconnecting.", reason);
	bt_conn_disconnect(conn, BT_HCI_ERR_AUTH_FAIL);
}

static struct bt_conn_auth_info_cb auth_cb_info = {
	.pairing_complete = pairing_complete,
	.pairing_failed = pairing_failed,
};

static void notif_enabled(bool enabled, void *ctx)
{
	ARG_UNUSED(ctx);

	LOG_INF("%s() - %s", __func__, (enabled ? "Enabled" : "Disabled"));
}

static void received(struct bt_conn *conn, const void *data, uint16_t len, void *ctx)
{
	ARG_UNUSED(ctx);

	if (bt_conn_get_security(conn) < BT_SECURITY_L4) {
		LOG_WRN("Ignoring %u bytes received before L4 security", len);
		return;
	}

	app_uart_handle_rx(APP_UART_TRANSPORT_BLE, data, len);

	LOG_DBG("Received %u bytes", len);
}

static struct bt_nus_cb nus_listener = {
	.notif_enabled = notif_enabled,
	.received = received,
};

int bt_init(void)
{
	int err = bt_nus_cb_register(&nus_listener, NULL);

	if (err) {
		LOG_ERR("Failed to register NUS callback: %d", err);
		return err;
	}

	err = bt_enable(NULL);
	if (err) {
		LOG_ERR("Bluetooth init failed (err %d)", err);
		return 0;
	}
	LOG_INF("Bluetooth initialized");

	return 0;
}

int bt_start(void)
{
	bt_conn_auth_cb_register(&auth_cb_display);
	bt_conn_auth_info_cb_register(&auth_cb_info);

#ifdef CONFIG_BT_FIXED_PASSKEY
	bt_passkey_set(123456);
#endif

	start_adv();

	return 0;
}

int bt_nus_send_bytes(const uint8_t *data, size_t len)
{
	struct bt_conn *conn;
	size_t max_payload;
	int err = 0;

	if (data == NULL) {
		return -EINVAL;
	}
	if (len == 0) {
		return 0;
	}

	conn = get_active_conn();
	if (conn == NULL) {
		return -ENOTCONN;
	}

	if (bt_conn_get_security(conn) < BT_SECURITY_L4) {
		err = -EACCES;
		goto out;
	}

	max_payload = bt_gatt_get_mtu(conn);
	if (max_payload <= 3U) {
		err = -EMSGSIZE;
		goto out;
	}
	max_payload -= 3U;
	while (len > 0) {
		uint16_t chunk_len = (uint16_t)MIN(len, max_payload);

		err = bt_nus_send(conn, data, chunk_len);
		if (err) {
			break;
		}

		data += chunk_len;
		len -= chunk_len;
	}

out:
	bt_conn_unref(conn);
	return err;
}

#else

int bt_init(void)
{
	return 0;
}

int bt_start(void)
{
	return 0;
}

int bt_nus_send_bytes(const uint8_t *data, size_t len)
{
	ARG_UNUSED(data);
	ARG_UNUSED(len);

	return -ENOTSUP;
}

#endif
```

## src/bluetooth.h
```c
#ifndef BLUETOOTH_H
#define BLUETOOTH_H

#include "wrapper.h"

int bt_init(void);
int bt_start(void);
int bt_nus_send_bytes(const uint8_t *data, size_t len);

#endif
```

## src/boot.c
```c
/* SPDX-License-Identifier: MPL-2.0 */

#include "boot.h"

#include <zephyr/device.h>
#include <zephyr/devicetree.h>
#include <zephyr/dfu/mcuboot.h>
#include <zephyr/drivers/uart.h>
#include <zephyr/kernel.h>
#include <zephyr/logging/log.h>
#include <zephyr/sys/reboot.h>

#include "app.h"
#include "storage.h"

LOG_MODULE_REGISTER(app_boot);

#define UPDATE_UART DEVICE_DT_GET(DT_CHOSEN(zephyr_uart_mcumgr))

static void reboot_for_update(struct k_work *work)
{
	ARG_UNUSED(work);
	sys_reboot(SYS_REBOOT_COLD);
}

static K_WORK_DELAYABLE_DEFINE(update_reboot_work, reboot_for_update);

int confirm_mcuboot_img(void)
{
	if (!boot_is_img_confirmed()) {
		return boot_write_img_confirmed();
	}
	return 0;
}

bool app_update_mode_take(void)
{
	uint8_t enabled;
	int ret = storage_read(&enabled, sizeof(enabled), storage_ids.firmware_update);

	if (ret == sizeof(enabled) && enabled != 0) {
		if (storage_delete(storage_ids.firmware_update) == 0) {
			LOG_INF("Firmware update mode active on UART");
			return true;
		}
		LOG_ERR("Failed to consume firmware update mode");
	}

	uart_irq_rx_disable(UPDATE_UART);
	return false;
}

bool app_update_request(void)
{
	uint8_t enabled = 1;

	if (storage_write(&enabled, sizeof(enabled), storage_ids.firmware_update) < 0) {
		return false;
	}

	k_work_reschedule(&update_reboot_work, K_MSEC(250));
	return true;
}
```

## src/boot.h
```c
/* SPDX-License-Identifier: MPL-2.0 */

#ifndef BOOT_H
#define BOOT_H

#include <stdbool.h>

#ifdef CONFIG_OSKEY_MCUBOOT
int confirm_mcuboot_img(void);
bool app_update_mode_take(void);
#endif

#endif
```

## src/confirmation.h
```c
/*
 * SPDX-License-Identifier: Apache-2.0
 */

#ifndef OSKEY_CONFIRMATION_H
#define OSKEY_CONFIRMATION_H

#include <stdbool.h>
#include <stddef.h>
#include <stdint.h>

#include "bindings.h"

int app_confirmation_wait(AppMessageSource source, int32_t timeout_ms, FidoOperation operation,
			  const uint8_t *data, size_t len, const uint8_t *auxiliary,
			  size_t auxiliary_len);
void app_confirmation_cancel(AppMessageSource source);
void app_confirmation_complete(bool approved);
void app_confirmation_respond(bool approved);
void app_confirmation_prompt(bool active, const struct AppConfirmationView *confirmation);

#endif /* OSKEY_CONFIRMATION_H */
```
